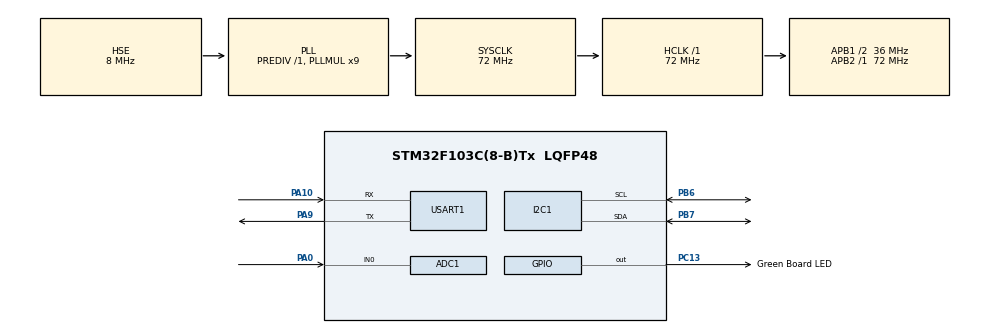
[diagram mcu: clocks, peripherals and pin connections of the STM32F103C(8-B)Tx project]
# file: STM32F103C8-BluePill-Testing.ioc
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ADC1.Channel-6\#ChannelRegularConversion=ADC_CHANNEL_0
ADC1.ContinuousConvMode=ENABLE
ADC1.NbrOfConversionFlag=1
ADC1.Rank-6\#ChannelRegularConversion=1
ADC1.SamplingTime-6\#ChannelRegularConversion=ADC_SAMPLETIME_1CYCLE_5
ADC1.master=1
Dma.ADC1.0.Direction=DMA_PERIPH_TO_MEMORY
Dma.ADC1.0.Instance=DMA1_Channel1
Dma.ADC1.0.MemDataAlignment=DMA_MDATAALIGN_HALFWORD
Dma.ADC1.0.MemInc=DMA_MINC_ENABLE
Dma.ADC1.0.Mode=DMA_NORMAL
Dma.ADC1.0.PeriphDataAlignment=DMA_PDATAALIGN_HALFWORD
Dma.ADC1.0.PeriphInc=DMA_PINC_DISABLE
Dma.ADC1.0.Priority=DMA_PRIORITY_LOW
Dma.Request0=ADC1
Mcu.Family=STM32F1
Mcu.Name=STM32F103C(8-B)Tx
Mcu.Package=LQFP48
NVIC.DMA1_Channel1_IRQn=true\:0\:0\:false\:false\:true\:false\:true
NVIC.PriorityGroup=NVIC_PRIORITYGROUP_4
PA0-WKUP.Signal=ADCx_IN0
PA10.Mode=Asynchronous
PA10.Signal=USART1_RX
PA13.Mode=Serial_Wire
PA13.Signal=SYS_JTMS-SWDIO
PA14.Mode=Serial_Wire
PA14.Signal=SYS_JTCK-SWCLK
PA9.Mode=Asynchronous
PA9.Signal=USART1_TX
PB6.Mode=I2C
PB6.Signal=I2C1_SCL
PB7.Mode=I2C
PB7.Signal=I2C1_SDA
PC13-TAMPER-RTC.GPIO_Label=Green Board LED
PC13-TAMPER-RTC.Signal=GPIO_Output
PD0-OSC_IN.Mode=HSE-External-Oscillator
PD0-OSC_IN.Signal=RCC_OSC_IN
PD1-OSC_OUT.Mode=HSE-External-Oscillator
PD1-OSC_OUT.Signal=RCC_OSC_OUT
ProjectManager.HeapSize=0x200
ProjectManager.StackSize=0x400
ProjectManager.TargetToolchain=STM32CubeIDE
RCC.ADCPresc=RCC_ADCPCLK2_DIV8
RCC.AHBFreq_Value=72000000
RCC.APB1CLKDivider=RCC_HCLK_DIV2
RCC.APB1Freq_Value=36000000
RCC.APB1TimFreq_Value=72000000
RCC.APB2Freq_Value=72000000
RCC.APB2TimFreq_Value=72000000
RCC.HCLKFreq_Value=72000000
RCC.PLLMUL=RCC_PLL_MUL9
RCC.PLLSourceVirtual=RCC_PLLSOURCE_HSE
RCC.SYSCLKFreq_VALUE=72000000
RCC.SYSCLKSource=RCC_SYSCLKSOURCE_PLLCLK
RCC.USBFreq_Value=72000000
SH.ADCx_IN0.0=ADC1_IN0,IN0
USART1.VirtualMode=VM_ASYNC
board=custom

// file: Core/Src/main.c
/* USER CODE BEGIN Header */
/**
  ******************************************************************************
  * @file           : main.c
  * @brief          : Main program body
  ******************************************************************************
  * @attention
  *
  * <h2><center>&copy; Copyright (c) 2020 STMicroelectronics.
  * All rights reserved.</center></h2>
  *
  * This software component is licensed by ST under BSD 3-Clause license,
  * the "License"; You may not use this file except in compliance with the
  * License. You may obtain a copy of the License at:
  *                        opensource.org/licenses/BSD-3-Clause
  *
  ******************************************************************************
  */
/* USER CODE END Header */
#include "main.h"

/* USER CODE BEGIN Includes */
#include <stdio.h>
#include <string.h>
#include "adcsensor.h"
#include "actuator.h"
/* USER CODE END Includes */

/* USER CODE BEGIN PM */
#define BLINKS_PER_INTERVAL 2
#define BLINK_PERIOD 500
#define BLINK_INTERVAL 1000
/* USER CODE END PM */

ADC_HandleTypeDef hadc1;
DMA_HandleTypeDef hdma_adc1;

I2C_HandleTypeDef hi2c1;

UART_HandleTypeDef huart1;

/* USER CODE BEGIN PV */
// Simple loop counter for the UART communication demo.
int count = 0;
// String buffer for the UART communication demo.
char msg[50];
// Flag communicating when there is a new CAN message to read from the can_val buffer.
volatile uint8_t can_val_ready = 0;
// Buffer containing the last-received CAN message.
volatile uint8_t can_val[8];

// Defines the potentiometer ADC sensor used for HAL API testing.
ADCSensorTypeDef pot = {0, &hadc1, 0xFFF/3.3, 0};
// List of all defined ADC-dependent sensors.
ADCSensorTypeDef* adc_sensors[ADC_SENSORS_SIZE] = {&pot};
/* USER CODE END PV */

void SystemClock_Config(void);
static void MX_GPIO_Init(void);
static void MX_DMA_Init(void);
static void MX_I2C1_Init(void);
static void MX_USART1_UART_Init(void);
static void MX_ADC1_Init(void);

/* USER CODE BEGIN 0 */
void CAN_Send(uint8_t* msg, uint8_t length) {

}

void CAN_Receive() {

}
/* USER CODE END 0 */

int main(void)
{

  /* MCU Configuration--------------------------------------------------------*/

  /* Reset of all peripherals, Initializes the Flash interface and the Systick. */
  HAL_Init();

  /* USER CODE BEGIN Init */
  HAL_StatusTypeDef ret_status;
//  uint8_t uart_send_buffer[14] = {'H', 'e', 'l', 'l', 'o', ' ', 'W', 'o', 'r', 'l', 'd', '!', '\r', '\n'};
//  memset(msg + strlen(msg), NULL, 30 - strlen(msg)); // https://stackoverflow.com/questions/33689274/how-to-fill-a-char-array-in-c/33689388
  /* USER CODE END Init */

  /* Configure the system clock */
  SystemClock_Config();

  /* Initialize all configured peripherals */
  MX_GPIO_Init();
  MX_DMA_Init();
  MX_I2C1_Init();
  MX_USART1_UART_Init();
  MX_ADC1_Init();
  /* USER CODE BEGIN 2 */
  ADCSensor_Trigger_Read();
  /* USER CODE END 2 */

  /* Infinite loop */
  /* USER CODE BEGIN WHILE */
  while (1) {
	if(pot.value_ready_for_read) {
		float voltage = ADCSensor_Read_Counts(&pot)/pot.counts_per_volt;

		sprintf(msg, "Hello World! %d ADC: %d.%d\r\n", count, (int)voltage, (int)(voltage * 100) % 100);
		ADCSensor_Trigger_Read();
	} else {
		sprintf(msg, "Hello World! %d\r\n", count);
	}

//	ret_status = HAL_UART_Transmit(&huart1, (uint8_t*)&uart_send_buffer[0], strlen(uart_send_buffer), HAL_MAX_DELAY);
	ret_status = HAL_UART_Transmit(&huart1, (uint8_t*)msg, strlen(msg), HAL_MAX_DELAY);

	for(int i = 0; i < BLINKS_PER_INTERVAL; i++) {
		HAL_GPIO_WritePin(GPIOC, GPIO_PIN_13, GPIO_PIN_RESET);
		HAL_Delay(BLINK_PERIOD / 2);
		HAL_GPIO_WritePin(GPIOC, GPIO_PIN_13, GPIO_PIN_SET);
		HAL_Delay(BLINK_PERIOD / 2);
	}
	HAL_Delay(BLINK_INTERVAL - BLINK_PERIOD * BLINKS_PER_INTERVAL);

//	ret_status = HAL_I2C_Slave_Receive(&hi2c1, (uint8_t*)&data_buffer, 1, HAL_MAX_DELAY);
//	if(ret_status != HAL_OK) {
//		// Error
//	} else {
//		uint8_t value = data_buffer[0];
//		uint8_t response = value > 0 ? -1 : 1;
//		ret_status = HAL_I2C_Slave_Transmit(&hi2c1, &response, 1, HAL_MAX_DELAY);
//		if(ret_status != HAL_OK) {
//			// Error
//		}
//	}

	count++;
    /* USER CODE END WHILE */

  }
}

void SystemClock_Config(void)
{
  RCC_OscInitTypeDef RCC_OscInitStruct = {0};
  RCC_ClkInitTypeDef RCC_ClkInitStruct = {0};
  RCC_PeriphCLKInitTypeDef PeriphClkInit = {0};

  /** Initializes the RCC Oscillators according to the specified parameters
  * in the RCC_OscInitTypeDef structure.
  */
  RCC_OscInitStruct.OscillatorType = RCC_OSCILLATORTYPE_HSE;
  RCC_OscInitStruct.HSEState = RCC_HSE_ON;
  RCC_OscInitStruct.HSEPredivValue = RCC_HSE_PREDIV_DIV1;
  RCC_OscInitStruct.HSIState = RCC_HSI_ON;
  RCC_OscInitStruct.PLL.PLLState = RCC_PLL_ON;
  RCC_OscInitStruct.PLL.PLLSource = RCC_PLLSOURCE_HSE;
  RCC_OscInitStruct.PLL.PLLMUL = RCC_PLL_MUL9;
  if (HAL_RCC_OscConfig(&RCC_OscInitStruct) != HAL_OK)
  {
    Error_Handler();
  }
  /** Initializes the CPU, AHB and APB buses clocks
  */
  RCC_ClkInitStruct.ClockType = RCC_CLOCKTYPE_HCLK|RCC_CLOCKTYPE_SYSCLK
                              |RCC_CLOCKTYPE_PCLK1|RCC_CLOCKTYPE_PCLK2;
  RCC_ClkInitStruct.SYSCLKSource = RCC_SYSCLKSOURCE_PLLCLK;
  RCC_ClkInitStruct.AHBCLKDivider = RCC_SYSCLK_DIV1;
  RCC_ClkInitStruct.APB1CLKDivider = RCC_HCLK_DIV2;
  RCC_ClkInitStruct.APB2CLKDivider = RCC_HCLK_DIV1;

  if (HAL_RCC_ClockConfig(&RCC_ClkInitStruct, FLASH_LATENCY_2) != HAL_OK)
  {
    Error_Handler();
  }
  PeriphClkInit.PeriphClockSelection = RCC_PERIPHCLK_ADC;
  PeriphClkInit.AdcClockSelection = RCC_ADCPCLK2_DIV8;
  if (HAL_RCCEx_PeriphCLKConfig(&PeriphClkInit) != HAL_OK)
  {
    Error_Handler();
  }
}

static void MX_ADC1_Init(void)
{

  ADC_ChannelConfTypeDef sConfig = {0};

  /** Common config
  */
  hadc1.Instance = ADC1;
  hadc1.Init.ScanConvMode = ADC_SCAN_DISABLE;
  hadc1.Init.ContinuousConvMode = ENABLE;
  hadc1.Init.DiscontinuousConvMode = DISABLE;
  hadc1.Init.ExternalTrigConv = ADC_SOFTWARE_START;
  hadc1.Init.DataAlign = ADC_DATAALIGN_RIGHT;
  hadc1.Init.NbrOfConversion = 1;
  if (HAL_ADC_Init(&hadc1) != HAL_OK)
  {
    Error_Handler();
  }
  /** Configure Regular Channel
  */
  sConfig.Channel = ADC_CHANNEL_0;
  sConfig.Rank = ADC_REGULAR_RANK_1;
  sConfig.SamplingTime = ADC_SAMPLETIME_1CYCLE_5;
  if (HAL_ADC_ConfigChannel(&hadc1, &sConfig) != HAL_OK)
  {
    Error_Handler();
  }

}

static void MX_I2C1_Init(void)
{

  hi2c1.Instance = I2C1;
  hi2c1.Init.ClockSpeed = 100000;
  hi2c1.Init.DutyCycle = I2C_DUTYCYCLE_2;
  hi2c1.Init.OwnAddress1 = 0;
  hi2c1.Init.AddressingMode = I2C_ADDRESSINGMODE_7BIT;
  hi2c1.Init.DualAddressMode = I2C_DUALADDRESS_DISABLE;
  hi2c1.Init.OwnAddress2 = 0;
  hi2c1.Init.GeneralCallMode = I2C_GENERALCALL_DISABLE;
  hi2c1.Init.NoStretchMode = I2C_NOSTRETCH_DISABLE;
  if (HAL_I2C_Init(&hi2c1) != HAL_OK)
  {
    Error_Handler();
  }

}

static void MX_USART1_UART_Init(void)
{

  huart1.Instance = USART1;
  huart1.Init.BaudRate = 115200;
  huart1.Init.WordLength = UART_WORDLENGTH_8B;
  huart1.Init.StopBits = UART_STOPBITS_1;
  huart1.Init.Parity = UART_PARITY_NONE;
  huart1.Init.Mode = UART_MODE_TX_RX;
  huart1.Init.HwFlowCtl = UART_HWCONTROL_NONE;
  huart1.Init.OverSampling = UART_OVERSAMPLING_16;
  if (HAL_UART_Init(&huart1) != HAL_OK)
  {
    Error_Handler();
  }

}

static void MX_DMA_Init(void)
{

  /* DMA controller clock enable */
  __HAL_RCC_DMA1_CLK_ENABLE();

  /* DMA interrupt init */
  /* DMA1_Channel1_IRQn interrupt configuration */
  HAL_NVIC_SetPriority(DMA1_Channel1_IRQn, 0, 0);
  HAL_NVIC_EnableIRQ(DMA1_Channel1_IRQn);

}

static void MX_GPIO_Init(void)
{
  GPIO_InitTypeDef GPIO_InitStruct = {0};

  /* GPIO Ports Clock Enable */
  __HAL_RCC_GPIOC_CLK_ENABLE();
  __HAL_RCC_GPIOD_CLK_ENABLE();
  __HAL_RCC_GPIOA_CLK_ENABLE();
  __HAL_RCC_GPIOB_CLK_ENABLE();

  /*Configure GPIO pin Output Level */
  HAL_GPIO_WritePin(Green_Board_LED_GPIO_Port, Green_Board_LED_Pin, GPIO_PIN_RESET);

  /*Configure GPIO pin : Green_Board_LED_Pin */
  GPIO_InitStruct.Pin = Green_Board_LED_Pin;
  GPIO_InitStruct.Mode = GPIO_MODE_OUTPUT_PP;
  GPIO_InitStruct.Pull = GPIO_NOPULL;
  GPIO_InitStruct.Speed = GPIO_SPEED_FREQ_LOW;
  HAL_GPIO_Init(Green_Board_LED_GPIO_Port, &GPIO_InitStruct);

}

void Error_Handler(void)
{
  __disable_irq();
  while (1)
  {
  }
}

/************************ (C) COPYRIGHT STMicroelectronics *****END OF FILE****/
